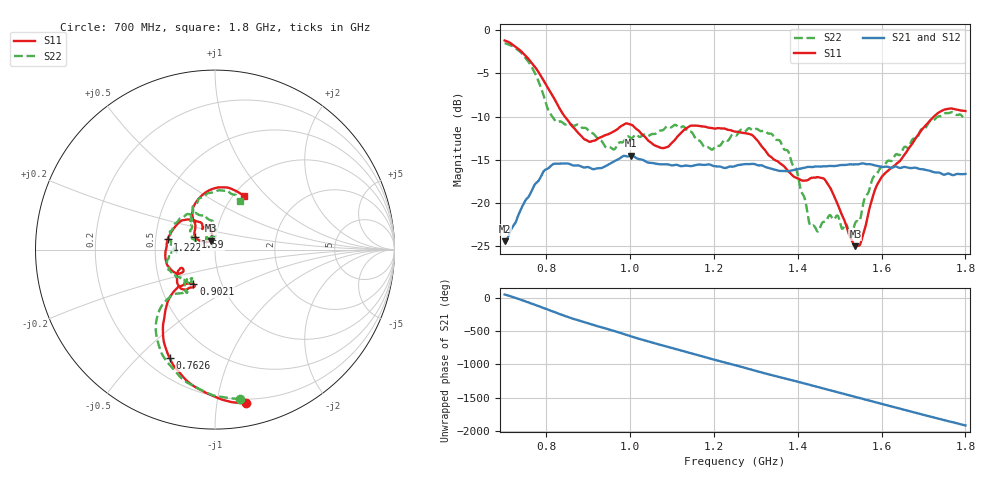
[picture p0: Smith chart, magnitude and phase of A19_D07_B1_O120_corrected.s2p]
! Created with skrf 1.9.0 (http://scikit-rf.org).
# Hz S RI R 50.0
!freq ReS11 ImS11 ReS21 ImS21 ReS12 ImS12 ReS22 ImS22
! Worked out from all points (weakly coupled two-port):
!   1601 points, 700 MHz to 1.8 GHz, reference 50 ohm
!   highest |S21| = -14.52 dB at 1.002 GHz (marker M1); lowest = -24.5 dB at 700.7 MHz (marker M2)
!   lowest |S11| = -25.0 dB at 1.537 GHz (marker M3), VSWR 1.12, Z = 47.4 + j4.82 ohm
!   |S11| at or under -10 dB: 843.8 MHz to 1.725 GHz (881 MHz wide, 68.6 % of centre)
!   |S22| runs from -24.0 to -1.5 dB; largest |S21 - S12| = 0.0035
!   S11 on the Smith chart (normalised r, x): 700 MHz: 0.17, -1.21; 762.6 MHz: 0.29, -0.63; 902.1 MHz: 0.73, -0.30; 1.222 GHz: 0.58, +0.07; 1.59 GHz: 0.80, +0.11; 1.8 GHz: 1.12, +0.76
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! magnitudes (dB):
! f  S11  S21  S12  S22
! 700 MHz  -1.2  -24.5  -24.3  -1.5
! 700.7 MHz  -1.2  -24.5  -24.2  -1.5
! 762.6 MHz  -3.7  -18.8  -18.8  -4.1
! 818.2 MHz  -7.9  -15.5  -15.6  -10.3
! 883.6 MHz  -12.3  -15.8  -15.7  -11.3
! 902.1 MHz  -12.9  -15.9  -15.9  -11.7
! 959.2 MHz  -11.8  -15.2  -15.2  -13.8
! 1.002 GHz  -10.9  -14.5  -14.6  -12.5
! 1.067 GHz  -13.5  -15.5  -15.5  -11.7
! 1.144 GHz  -11.1  -15.7  -15.7  -11.8
! 1.222 GHz  -11.4  -15.9  -16.0  -12.8
! 1.25 GHz  -11.7  -15.7  -15.7  -12.2
! 1.357 GHz  -15.4  -16.3  -16.2  -12.8
! 1.396 GHz  -17.1  -16.1  -16.1  -16.0
! 1.434 GHz  -17.1  -15.8  -15.8  -22.7
! 1.472 GHz  -17.9  -15.7  -15.7  -21.7
! 1.526 GHz  -24.0  -15.5  -15.5  -24.0
! 1.537 GHz  -25.0  -15.5  -15.5  -22.3
! 1.59 GHz  -17.8  -15.7  -15.7  -16.5
! 1.617 GHz  -16.2  -15.9  -15.8  -15.1
! 1.733 GHz  -9.7  -16.5  -16.5  -10.0
! 1.8 GHz  -9.4  -16.7  -16.6  -10.3
